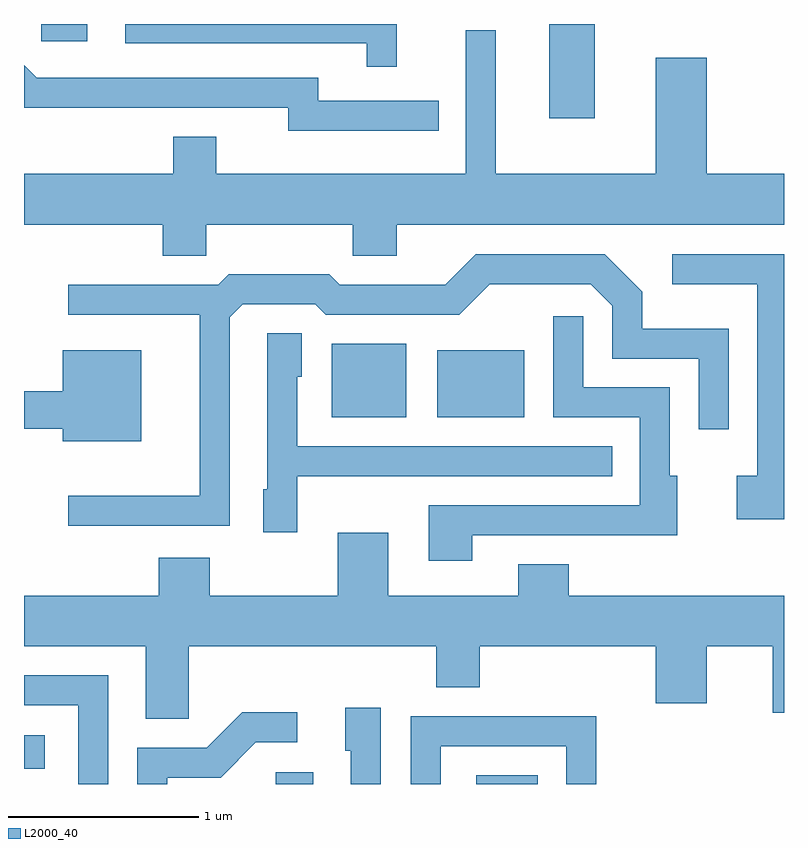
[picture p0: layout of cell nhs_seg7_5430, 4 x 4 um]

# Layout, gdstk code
import gdstk
lib = gdstk.Library(unit=1e-6, precision=1e-09)
def R(c, l, rs):  # rectangles x0, y0, x1, y1
    for r in rs: c.add(gdstk.rectangle(r[:2], r[2:], *l))
def P(c, l, *ps):  # polygons
    for p in ps: c.add(gdstk.Polygon(p, *l))
L2000_40 = (2000, 40)

nhs_seg7_5430 = lib.new_cell('nhs_seg7_5430')
R(nhs_seg7_5430, L2000_40, [(352.936,1720.252,353.134,1720.314), (353.991,1720.252,354.314,1720.299), (351.611,1720.331,351.719,1720.509), (353.231,1722.181,353.624,1722.569), (353.786,1722.181,354.244,1722.534), (354.376,1723.756,354.614,1724.252), (351.701,1724.161,351.943,1724.252)])
P(nhs_seg7_5430, L2000_40, [(353.574,1724.252),(352.143,1724.252),(352.143,1724.151),(353.416,1724.151),(353.416,1724.028),(353.574,1724.028)],
  [(352.569,1723.196),(353.341,1723.196),(353.341,1723.031),(353.574,1723.031),(353.574,1723.196),(355.611,1723.196),(355.611,1723.464),(355.204,1723.464),(355.204,1724.074),(354.936,1724.074),(354.936,1723.464),(354.094,1723.464),(354.094,1724.218),(353.936,1724.218),(353.936,1723.464),(352.624,1723.464),(352.624,1723.659),(352.396,1723.659),(352.396,1723.464),(351.611,1723.464),(351.611,1723.196),(352.341,1723.196),(352.341,1723.031),(352.569,1723.031)],
  [(353.793,1723.849),(353.159,1723.849),(353.159,1723.969),(351.677,1723.969),(351.611,1724.035),(351.611,1723.811),(353.001,1723.811),(353.001,1723.691),(353.793,1723.691)],
  [(355.611,1723.039),(355.023,1723.039),(355.023,1722.881),(355.471,1722.881),(355.471,1721.874),(355.361,1721.874),(355.361,1721.646),(355.611,1721.646)],
  [(352.694,1722.709),(352.762,1722.776),(353.144,1722.776),(353.199,1722.721),(353.902,1722.721),(354.062,1722.881),(354.594,1722.881),(354.706,1722.769),(354.706,1722.491),(355.161,1722.491),(355.161,1722.118),(355.319,1722.118),(355.319,1722.649),(354.864,1722.649),(354.864,1722.842),(354.667,1723.039),(353.989,1723.039),(353.829,1722.879),(353.272,1722.879),(353.217,1722.934),(352.689,1722.934),(352.634,1722.879),(351.843,1722.879),(351.843,1722.721),(352.536,1722.721),(352.536,1721.769),(351.843,1721.769),(351.843,1721.611),(352.694,1721.611)],
  [(353.969,1721.561),(355.049,1721.561),(355.049,1721.874),(355.009,1721.874),(355.009,1722.339),(354.554,1722.339),(354.554,1722.713),(354.396,1722.713),(354.396,1722.181),(354.851,1722.181),(354.851,1721.719),(353.741,1721.719),(353.741,1721.426),(353.969,1721.426)],
  [(353.049,1721.871),(354.708,1721.871),(354.708,1722.029),(353.049,1722.029),(353.049,1722.396),(353.074,1722.396),(353.074,1722.624),(352.891,1722.624),(352.891,1721.804),(352.871,1721.804),(352.871,1721.576),(353.049,1721.576)],
  [(352.229,1722.534),(351.816,1722.534),(351.816,1722.319),(351.611,1722.319),(351.611,1722.121),(351.816,1722.121),(351.816,1722.056),(352.229,1722.056)],
  [(352.479,1720.976),(353.781,1720.976),(353.781,1720.761),(354.009,1720.761),(354.009,1720.976),(354.936,1720.976),(354.936,1720.676),(355.204,1720.676),(355.204,1720.976),(355.551,1720.976),(355.551,1720.626),(355.611,1720.626),(355.611,1721.244),(354.479,1721.244),(354.479,1721.409),(354.211,1721.409),(354.211,1721.244),(353.529,1721.244),(353.529,1721.574),(353.261,1721.574),(353.261,1721.244),(352.589,1721.244),(352.589,1721.444),(352.321,1721.444),(352.321,1721.244),(351.611,1721.244),(351.611,1720.976),(352.251,1720.976),(352.251,1720.596),(352.479,1720.596)],
  [(352.054,1720.824),(351.611,1720.824),(351.611,1720.666),(351.896,1720.666),(351.896,1720.252),(352.054,1720.252)],
  [(353.489,1720.654),(353.301,1720.654),(353.301,1720.426),(353.331,1720.426),(353.331,1720.252),(353.489,1720.252)],
  [(352.364,1720.286),(352.647,1720.286),(352.832,1720.471),(353.048,1720.471),(353.048,1720.629),(352.759,1720.629),(352.574,1720.444),(352.206,1720.444),(352.206,1720.252),(352.364,1720.252)],
  [(353.804,1720.451),(354.466,1720.451),(354.466,1720.252),(354.624,1720.252),(354.624,1720.609),(353.646,1720.609),(353.646,1720.252),(353.804,1720.252)])

lib.write_gds('nhs_seg7_5430.gds')
